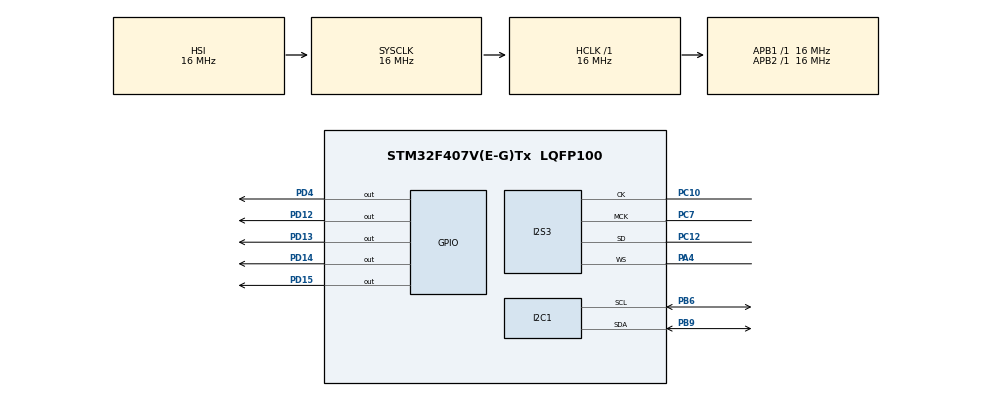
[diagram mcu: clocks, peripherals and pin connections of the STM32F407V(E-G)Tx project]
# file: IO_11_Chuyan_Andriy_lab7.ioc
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Dma.Request0=SPI3_TX
Dma.SPI3_TX.0.Direction=DMA_MEMORY_TO_PERIPH
Dma.SPI3_TX.0.FIFOMode=DMA_FIFOMODE_ENABLE
Dma.SPI3_TX.0.FIFOThreshold=DMA_FIFO_THRESHOLD_FULL
Dma.SPI3_TX.0.Instance=DMA1_Stream5
Dma.SPI3_TX.0.MemBurst=DMA_MBURST_SINGLE
Dma.SPI3_TX.0.MemDataAlignment=DMA_MDATAALIGN_HALFWORD
Dma.SPI3_TX.0.MemInc=DMA_MINC_ENABLE
Dma.SPI3_TX.0.Mode=DMA_CIRCULAR
Dma.SPI3_TX.0.PeriphBurst=DMA_PBURST_SINGLE
Dma.SPI3_TX.0.PeriphDataAlignment=DMA_PDATAALIGN_HALFWORD
Dma.SPI3_TX.0.PeriphInc=DMA_PINC_DISABLE
Dma.SPI3_TX.0.Priority=DMA_PRIORITY_LOW
I2S3.AudioFreq=I2S_AUDIOFREQ_48K
I2S3.ErrorAudioFreq=-2.34 %
I2S3.FullDuplexMode=I2S_FULLDUPLEXMODE_DISABLE
I2S3.Instance=SPI$Index
I2S3.RealAudioFreq=46.875 KHz
I2S3.VirtualMode=I2S_MODE_MASTER
Mcu.Family=STM32F4
Mcu.Name=STM32F407V(E-G)Tx
Mcu.Package=LQFP100
NVIC.DMA1_Stream5_IRQn=true\:0\:0\:false\:false\:true\:false\:true\:true
NVIC.PriorityGroup=NVIC_PRIORITYGROUP_4
PA4.Mode=Half_Duplex_Master
PA4.Signal=I2S3_WS
PB6.Mode=I2C
PB6.Signal=I2C1_SCL
PB9.Mode=I2C
PB9.Signal=I2C1_SDA
PC10.Mode=Half_Duplex_Master
PC10.Signal=I2S3_CK
PC12.Mode=Half_Duplex_Master
PC12.Signal=I2S3_SD
PC7.Mode=Master_Clock_Activated
PC7.Signal=I2S3_MCK
PD12.Signal=GPIO_Output
PD13.Signal=GPIO_Output
PD14.Signal=GPIO_Output
PD15.Signal=GPIO_Output
PD4.Signal=GPIO_Output
ProjectManager.HeapSize=0x200
ProjectManager.StackSize=0x400
ProjectManager.TargetToolchain=STM32CubeIDE
RCC.AHBFreq_Value=16000000
RCC.APB1Freq_Value=16000000
RCC.APB2Freq_Value=16000000
RCC.CortexFreq_Value=16000000
RCC.HSE_VALUE=25000000
RCC.HSI_VALUE=16000000
RCC.LSE_VALUE=32768
RCC.SYSCLKFreq_VALUE=16000000
RCC.VCOOutputFreq_Value=192000000
board=custom

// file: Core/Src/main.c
/* USER CODE BEGIN Header */
/**
  ******************************************************************************
  * @file           : main.c
  * @brief          : Main program body
  ******************************************************************************
  * @attention
  *
  * Copyright (c) 2024 STMicroelectronics.
  * All rights reserved.
  *
  * This software is licensed under terms that can be found in the LICENSE file
  * in the root directory of this software component.
  * If no LICENSE file comes with this software, it is provided AS-IS.
  *
  ******************************************************************************
  */
/* USER CODE END Header */
#include "main.h"

/* USER CODE BEGIN PTD */
typedef enum
{
	C4,
	E5,
	F5,
	G5,
	MAX_VALUE
} soundToneType;
/* USER CODE END PTD */

/* USER CODE BEGIN PD */

#define CS43L22_I2C_ADDRESS		0x94
#define I2C_TIMEOUT				10

/* USER CODE END PD */

I2C_HandleTypeDef hi2c1;

I2S_HandleTypeDef hi2s3;
DMA_HandleTypeDef hdma_spi3_tx;

/* USER CODE BEGIN PV */

int16_t dataI2S[100] = {0};

/* USER CODE END PV */

void SystemClock_Config(void);
static void MX_GPIO_Init(void);
static void MX_DMA_Init(void);
static void MX_I2C1_Init(void);
static void MX_I2S3_Init(void);

/* USER CODE BEGIN 0 */
void CS43L22_Init(void)
{
	// Enable chip
	HAL_GPIO_WritePin(GPIOD, GPIO_PIN_4, GPIO_PIN_SET);

	//
	// Initialization
	//
	uint8_t TxBuffer[2];

	TxBuffer[0] = 0x0D;
	TxBuffer[1] = 0x01;
	HAL_I2C_Master_Transmit(&hi2c1, CS43L22_I2C_ADDRESS, (uint8_t*) &TxBuffer, 2, I2C_TIMEOUT);

	TxBuffer[0] = 0x00;
	TxBuffer[1] = 0x99;
	HAL_I2C_Master_Transmit(&hi2c1, CS43L22_I2C_ADDRESS, (uint8_t*) &TxBuffer, 2, I2C_TIMEOUT);

	TxBuffer[0] = 0x47;
	TxBuffer[1] = 0x80;
	HAL_I2C_Master_Transmit(&hi2c1, CS43L22_I2C_ADDRESS, (uint8_t*) &TxBuffer, 2, I2C_TIMEOUT);

	TxBuffer[0] = 0x32;
	TxBuffer[1] = 0xFF;
	HAL_I2C_Master_Transmit(&hi2c1, CS43L22_I2C_ADDRESS, (uint8_t*) &TxBuffer, 2, I2C_TIMEOUT);

	TxBuffer[0] = 0x32;
	TxBuffer[1] = 0x7F;
	HAL_I2C_Master_Transmit(&hi2c1, CS43L22_I2C_ADDRESS, (uint8_t*) &TxBuffer, 2, I2C_TIMEOUT);

	TxBuffer[0] = 0x00;
	TxBuffer[1] = 0x00;
	HAL_I2C_Master_Transmit(&hi2c1, CS43L22_I2C_ADDRESS, (uint8_t*) &TxBuffer, 2, I2C_TIMEOUT);

	TxBuffer[0] = 0x04;
	TxBuffer[1] = 0xAF;
	HAL_I2C_Master_Transmit(&hi2c1, CS43L22_I2C_ADDRESS, (uint8_t*) &TxBuffer, 2, I2C_TIMEOUT);

	TxBuffer[0] = 0x0D;
	TxBuffer[1] = 0x70;
	HAL_I2C_Master_Transmit(&hi2c1, CS43L22_I2C_ADDRESS, (uint8_t*) &TxBuffer, 2, I2C_TIMEOUT);

	TxBuffer[0] = 0x05;
	TxBuffer[1] = 0x81;
	HAL_I2C_Master_Transmit(&hi2c1, CS43L22_I2C_ADDRESS, (uint8_t*) &TxBuffer, 2, I2C_TIMEOUT);

	TxBuffer[0] = 0x06;
	TxBuffer[1] = 0x07;
	HAL_I2C_Master_Transmit(&hi2c1, CS43L22_I2C_ADDRESS, (uint8_t*) &TxBuffer, 2, I2C_TIMEOUT);

	TxBuffer[0] = 0x0A;
	TxBuffer[1] = 0x00;
	HAL_I2C_Master_Transmit(&hi2c1, CS43L22_I2C_ADDRESS, (uint8_t*) &TxBuffer, 2, I2C_TIMEOUT);

	TxBuffer[0] = 0x27;
	TxBuffer[1] = 0x00;
	HAL_I2C_Master_Transmit(&hi2c1, CS43L22_I2C_ADDRESS, (uint8_t*) &TxBuffer, 2, I2C_TIMEOUT);

	TxBuffer[0] = 0x1A;
	TxBuffer[1] = 0x0A;
	HAL_I2C_Master_Transmit(&hi2c1, CS43L22_I2C_ADDRESS, (uint8_t*) &TxBuffer, 2, I2C_TIMEOUT);

	TxBuffer[0] = 0x1B;
	TxBuffer[1] = 0x0A;
	HAL_I2C_Master_Transmit(&hi2c1, CS43L22_I2C_ADDRESS, (uint8_t*) &TxBuffer, 2, I2C_TIMEOUT);

	TxBuffer[0] = 0x1F;
	TxBuffer[1] = 0x0F;
	HAL_I2C_Master_Transmit(&hi2c1, CS43L22_I2C_ADDRESS, (uint8_t*) &TxBuffer, 2, I2C_TIMEOUT);

	TxBuffer[0] = 0x02;
	TxBuffer[1] = 0x9E;
	HAL_I2C_Master_Transmit(&hi2c1, CS43L22_I2C_ADDRESS, (uint8_t*) &TxBuffer, 2, I2C_TIMEOUT);
}

void CS43L22_Beep(soundToneType pitch, uint32_t duration_ms)
{
	uint8_t TxBuffer[2];

	// Set volume and off time
	TxBuffer[0] = 0x1D;		// Register address
	TxBuffer[1] = 0x00;		// Value (volume and off time)
	HAL_I2C_Master_Transmit(&hi2c1, CS43L22_I2C_ADDRESS, (uint8_t*) &TxBuffer, 2, I2C_TIMEOUT);

	// Set sound frequency
	TxBuffer[0] = 0x1C;		// Register address
	switch (pitch)
	{
		case C4:
			TxBuffer[1] = 0x00;		// Value (frequency and on time)
			break;
		case E5:
			TxBuffer[1] = 0x30;		// Value (frequency and on time)
			break;
		case F5:
			TxBuffer[1] = 0x40;		// Value (frequency and on time)
			break;
		case G5:
			TxBuffer[1] = 0x50;		// Value (frequency and on time)
			break;
		// Assume C4 for all other cases
		case MAX_VALUE:
		default:
			TxBuffer[1] = 0x00;		// Value (frequency and on time)
			break;
	}
	HAL_I2C_Master_Transmit(&hi2c1, CS43L22_I2C_ADDRESS, (uint8_t*) &TxBuffer, 2, I2C_TIMEOUT);

	HAL_GPIO_WritePin(GPIOD, GPIO_PIN_15, GPIO_PIN_SET);
	HAL_GPIO_WritePin(GPIOD, GPIO_PIN_14, GPIO_PIN_SET);
	HAL_GPIO_WritePin(GPIOD, GPIO_PIN_13, GPIO_PIN_SET);
	HAL_GPIO_WritePin(GPIOD, GPIO_PIN_12, GPIO_PIN_SET);
	// Enable continuous mode (SOUND STARTED)
	TxBuffer[0] = 0x1E;		// Register address
	TxBuffer[1] = 0xC0;		// Value (beep and tone configuration)
	HAL_I2C_Master_Transmit(&hi2c1, CS43L22_I2C_ADDRESS, (uint8_t*) &TxBuffer, 2, I2C_TIMEOUT);

	// Playing...
	HAL_Delay(duration_ms);

	HAL_GPIO_WritePin(GPIOD, GPIO_PIN_15, GPIO_PIN_RESET);
	HAL_GPIO_WritePin(GPIOD, GPIO_PIN_14, GPIO_PIN_RESET);
	HAL_GPIO_WritePin(GPIOD, GPIO_PIN_13, GPIO_PIN_RESET);
	HAL_GPIO_WritePin(GPIOD, GPIO_PIN_12, GPIO_PIN_RESET);
	// Disable continuous mode (SOUND STOPED)
	TxBuffer[0] = 0x1E;		// Register address
	TxBuffer[1] = 0x00;		// Value (beep and tone configuration)
	HAL_I2C_Master_Transmit(&hi2c1, CS43L22_I2C_ADDRESS, (uint8_t*) &TxBuffer, 2, I2C_TIMEOUT);
}

/* USER CODE END 0 */

int main(void)
{

  /* MCU Configuration--------------------------------------------------------*/

  /* Reset of all peripherals, Initializes the Flash interface and the Systick. */
  HAL_Init();

  /* Configure the system clock */
  SystemClock_Config();

  /* Initialize all configured peripherals */
  MX_GPIO_Init();
  MX_DMA_Init();
  MX_I2C1_Init();
  MX_I2S3_Init();
  /* USER CODE BEGIN 2 */

  // Init DAC
  CS43L22_Init();

  // Transmit empty data
  HAL_I2S_Transmit_DMA(&hi2s3, (uint16_t *)dataI2S, 100);

  /* USER CODE END 2 */

  /* Infinite loop */
  while (1)
  {
	  HAL_Delay(75);
	  CS43L22_Beep(E5, 350);
	  HAL_Delay(75);
	  CS43L22_Beep(E5, 350);
	  HAL_Delay(75);
	  CS43L22_Beep(E5, 250);
	  HAL_Delay(75);
	  CS43L22_Beep(G5, 250);
	  HAL_Delay(75);
	  CS43L22_Beep(F5, 150);

	  HAL_Delay(75);
	  CS43L22_Beep(E5, 350);
	  HAL_Delay(75);
	  CS43L22_Beep(E5, 350);
	  HAL_Delay(75);
	  CS43L22_Beep(E5, 250);
	  HAL_Delay(75);
	  CS43L22_Beep(G5, 250);
	  HAL_Delay(75);
	  CS43L22_Beep(F5, 150);

	  HAL_Delay(75);
	  CS43L22_Beep(E5, 350);
	  HAL_Delay(75);
	  CS43L22_Beep(E5, 350);
	  HAL_Delay(75);
	  CS43L22_Beep(E5, 250);
	  HAL_Delay(75);
	  CS43L22_Beep(G5, 250);
	  HAL_Delay(75);
	  CS43L22_Beep(F5, 150);

	  HAL_Delay(75);
	  CS43L22_Beep(E5, 150);
	  HAL_Delay(75);
	  CS43L22_Beep(E5, 150);
	  HAL_Delay(75);
	  CS43L22_Beep(E5, 150);
	  HAL_Delay(75);
	  CS43L22_Beep(E5, 150);
	  HAL_Delay(75);
	  CS43L22_Beep(E5, 75);
	  HAL_Delay(75);
	  CS43L22_Beep(E5, 75);
	  HAL_Delay(75);
	  CS43L22_Beep(E5, 75);
	  HAL_Delay(75);
	  CS43L22_Beep(E5, 75);
	  HAL_Delay(75);
	  CS43L22_Beep(E5, 350);

  }
}

void SystemClock_Config(void)
{
  RCC_OscInitTypeDef RCC_OscInitStruct = {0};
  RCC_ClkInitTypeDef RCC_ClkInitStruct = {0};

  /** Macro to configure the PLL multiplication factor
  */
  __HAL_RCC_PLL_PLLM_CONFIG(16);

  /** Macro to configure the PLL clock source
  */
  __HAL_RCC_PLL_PLLSOURCE_CONFIG(RCC_PLLSOURCE_HSI);

  /** Configure the main internal regulator output voltage
  */
  __HAL_RCC_PWR_CLK_ENABLE();
  __HAL_PWR_VOLTAGESCALING_CONFIG(PWR_REGULATOR_VOLTAGE_SCALE1);

  /** Initializes the RCC Oscillators according to the specified parameters
  * in the RCC_OscInitTypeDef structure.
  */
  RCC_OscInitStruct.OscillatorType = RCC_OSCILLATORTYPE_HSI;
  RCC_OscInitStruct.HSIState = RCC_HSI_ON;
  RCC_OscInitStruct.HSICalibrationValue = RCC_HSICALIBRATION_DEFAULT;
  RCC_OscInitStruct.PLL.PLLState = RCC_PLL_NONE;
  RCC_OscInitStruct.PLL.PLLSource = RCC_PLLSOURCE_HSI;
  if (HAL_RCC_OscConfig(&RCC_OscInitStruct) != HAL_OK)
  {
    Error_Handler();
  }

  /** Initializes the CPU, AHB and APB buses clocks
  */
  RCC_ClkInitStruct.ClockType = RCC_CLOCKTYPE_HCLK|RCC_CLOCKTYPE_SYSCLK
                              |RCC_CLOCKTYPE_PCLK1|RCC_CLOCKTYPE_PCLK2;
  RCC_ClkInitStruct.SYSCLKSource = RCC_SYSCLKSOURCE_HSI;
  RCC_ClkInitStruct.AHBCLKDivider = RCC_SYSCLK_DIV1;
  RCC_ClkInitStruct.APB1CLKDivider = RCC_HCLK_DIV1;
  RCC_ClkInitStruct.APB2CLKDivider = RCC_HCLK_DIV1;

  if (HAL_RCC_ClockConfig(&RCC_ClkInitStruct, FLASH_LATENCY_0) != HAL_OK)
  {
    Error_Handler();
  }
}

static void MX_I2C1_Init(void)
{

  hi2c1.Instance = I2C1;
  hi2c1.Init.ClockSpeed = 100000;
  hi2c1.Init.DutyCycle = I2C_DUTYCYCLE_2;
  hi2c1.Init.OwnAddress1 = 0;
  hi2c1.Init.AddressingMode = I2C_ADDRESSINGMODE_7BIT;
  hi2c1.Init.DualAddressMode = I2C_DUALADDRESS_DISABLE;
  hi2c1.Init.OwnAddress2 = 0;
  hi2c1.Init.GeneralCallMode = I2C_GENERALCALL_DISABLE;
  hi2c1.Init.NoStretchMode = I2C_NOSTRETCH_DISABLE;
  if (HAL_I2C_Init(&hi2c1) != HAL_OK)
  {
    Error_Handler();
  }

}

static void MX_I2S3_Init(void)
{

  hi2s3.Instance = SPI3;
  hi2s3.Init.Mode = I2S_MODE_MASTER_TX;
  hi2s3.Init.Standard = I2S_STANDARD_PHILIPS;
  hi2s3.Init.DataFormat = I2S_DATAFORMAT_16B;
  hi2s3.Init.MCLKOutput = I2S_MCLKOUTPUT_ENABLE;
  hi2s3.Init.AudioFreq = I2S_AUDIOFREQ_48K;
  hi2s3.Init.CPOL = I2S_CPOL_LOW;
  hi2s3.Init.ClockSource = I2S_CLOCK_PLL;
  hi2s3.Init.FullDuplexMode = I2S_FULLDUPLEXMODE_DISABLE;
  if (HAL_I2S_Init(&hi2s3) != HAL_OK)
  {
    Error_Handler();
  }

}

static void MX_DMA_Init(void)
{

  /* DMA controller clock enable */
  __HAL_RCC_DMA1_CLK_ENABLE();

  /* DMA interrupt init */
  /* DMA1_Stream5_IRQn interrupt configuration */
  HAL_NVIC_SetPriority(DMA1_Stream5_IRQn, 0, 0);
  HAL_NVIC_EnableIRQ(DMA1_Stream5_IRQn);

}

static void MX_GPIO_Init(void)
{
  GPIO_InitTypeDef GPIO_InitStruct = {0};

  /* GPIO Ports Clock Enable */
  __HAL_RCC_GPIOA_CLK_ENABLE();
  __HAL_RCC_GPIOD_CLK_ENABLE();
  __HAL_RCC_GPIOC_CLK_ENABLE();
  __HAL_RCC_GPIOB_CLK_ENABLE();

  /*Configure GPIO pin Output Level */
  HAL_GPIO_WritePin(GPIOD, GPIO_PIN_12|GPIO_PIN_13|GPIO_PIN_14|GPIO_PIN_15
                          |GPIO_PIN_4, GPIO_PIN_RESET);

  /*Configure GPIO pins : PD12 PD13 PD14 PD15
                           PD4 */
  GPIO_InitStruct.Pin = GPIO_PIN_12|GPIO_PIN_13|GPIO_PIN_14|GPIO_PIN_15
                          |GPIO_PIN_4;
  GPIO_InitStruct.Mode = GPIO_MODE_OUTPUT_PP;
  GPIO_InitStruct.Pull = GPIO_NOPULL;
  GPIO_InitStruct.Speed = GPIO_SPEED_FREQ_LOW;
  HAL_GPIO_Init(GPIOD, &GPIO_InitStruct);

}

void Error_Handler(void)
{
  __disable_irq();
  while (1)
  {
  }
}
